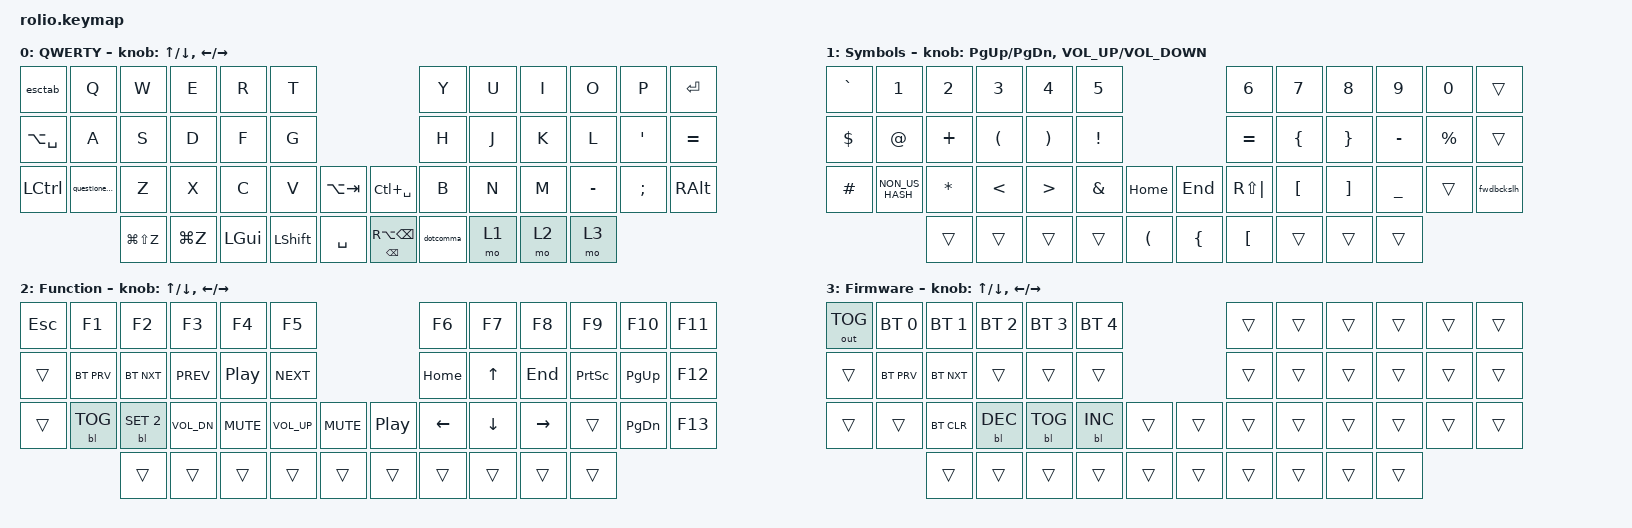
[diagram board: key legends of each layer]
/*
 * Copyright (c) 2020 The ZMK Contributors
 *
 * SPDX-License-Identifier: MIT
 */

#include <behaviors.dtsi>
#include <dt-bindings/zmk/backlight.h>
#include <dt-bindings/zmk/bt.h>
#include <dt-bindings/zmk/keys.h>
#include <dt-bindings/zmk/outputs.h>

#define MACOS     0
#define FKEYS     1
#define NUMBERS   2
#define WINDOWS   3
#define W_FKEYS   4
#define W_NUMBERS 5
#define MATHS     6
#define KB_CONFIG 7

/ {
    conditional_layers { compatible = "zmk,conditional-layers"; };

    behaviors {
        fwdbckslh: fwdbckslh {
            compatible = "zmk,behavior-tap-dance";
            display-name = "Shift/Caps Lock Tap Dance";
            #binding-cells = <0>;
            bindings = <&kp FSLH>, <&kp BSLH>;

            label = "FWD BCK Slash";
            tapping-term-ms = <500>;
        };

        holdtap: holdtap {
            compatible = "zmk,behavior-hold-tap";
            label = "Hold Tap";
            bindings = <&mo>, <&kp>;

            #binding-cells = <2>;
            tapping-term-ms = <500>;
        };

        dotcomma: dotcomma {
            compatible = "zmk,behavior-tap-dance";
            display-name = "Shift/Caps Lock Tap Dance";
            #binding-cells = <0>;
            bindings = <&kp COMMA>, <&kp PERIOD>;

            label = "Dot and Comma";
            tapping-term-ms = <500>;
        };

        questionexcl: questionexcl {
            compatible = "zmk,behavior-tap-dance";
            label = "Question and Excl";
            #binding-cells = <0>;
            bindings = <&kp QUESTION>, <&kp EXCLAMATION>;

            tapping-term-ms = <500>;
        };

        esctab: esctab {
            compatible = "zmk,behavior-tap-dance";
            label = "Esc Tab";
            #binding-cells = <0>;
            bindings = <&kp TAB>, <&kp ESCAPE>;

            tapping-term-ms = <500>;
        };

        holdtapkp: holdtapkp {
            compatible = "zmk,behavior-hold-tap";
            label = "HOLDTAPKP";
            bindings = <&kp>, <&kp>;

            #binding-cells = <2>;
            tapping-term-ms = <500>;
        };

        holdtapfast: holdtapfast {
            compatible = "zmk,behavior-hold-tap";
            label = "HOLDTAPFAST";
            bindings = <&mo>, <&kp>;

            #binding-cells = <2>;
            tapping-term-ms = <250>;
        };
    };

    macros {
        ifblock: ifblock {
            compatible = "zmk,behavior-macro";
            #binding-cells = <0>;
            bindings = <&kp I &kp F &kp LPAR &kp RPAR &kp LEFT_BRACE &kp RIGHT_BRACE>;
            label = "IFBLOCK";
        };

        ifelse: ifelse {
            compatible = "zmk,behavior-macro";
            #binding-cells = <0>;
            bindings = <&kp I &kp F &kp LPAR &kp RPAR &kp LEFT_BRACE &kp RBRC &kp E &kp L &kp S &kp E &kp LEFT_BRACE &kp RBRC>;
            label = "IFELSE";
        };
    };

    keymap {
        compatible = "zmk,keymap";

        default_layer {
            label = "QWERTY";
            sensor-bindings = <&inc_dec_kp UP DOWN &inc_dec_kp LEFT RIGHT>;
            bindings = <
&esctab           &kp Q          &kp W          &kp E      &kp R     &kp T                                                            &kp Y      &kp U  &kp I  &kp O      &kp P             &kp ENTER
&kp LA(SPACE)     &kp A          &kp S          &kp D      &kp F     &kp G                                                            &kp H      &kp J  &kp K  &kp L      &kp SINGLE_QUOTE  &kp EQUAL
&kp LEFT_CONTROL  &questionexcl  &kp Z          &kp X      &kp C     &kp V           &kp LA(TAB)  &kp LC(SPACE)                       &kp B      &kp N  &kp M  &kp MINUS  &kp SEMICOLON     &kp RIGHT_ALT
                                 &kp LG(LS(Z))  &kp LG(Z)  &kp LGUI  &kp LEFT_SHIFT  &kp SPACE    &holdtapkp BACKSPACE RA(BACKSPACE)  &dotcomma  &mo 1  &mo 2  &mo 3
            >;
        };

        layer_1 {
            label = "Symbols";
            sensor-bindings =
                <&inc_dec_kp PAGE_UP PAGE_DOWN>,
                <&inc_dec_kp C_VOLUME_UP C_VOLUME_DOWN>;

            bindings = <
&kp GRAVE   &kp N1           &kp N2        &kp N3                &kp N4                 &kp N5                                                 &kp N6            &kp N7            &kp N8             &kp N9          &kp N0       &trans
&kp DOLLAR  &kp AT_SIGN      &kp PLUS      &kp LEFT_PARENTHESIS  &kp RIGHT_PARENTHESIS  &kp EXCLAMATION                                        &kp EQUAL         &kp LEFT_BRACE    &kp RIGHT_BRACE    &kp MINUS       &kp PERCENT  &trans
&kp POUND   &kp NON_US_HASH  &kp ASTERISK  &kp LESS_THAN         &kp GREATER_THAN       &kp AMPERSAND    &kp HOME              &kp END         &kp RS(PIPE)      &kp LEFT_BRACKET  &kp RIGHT_BRACKET  &kp UNDERSCORE  &trans       &fwdbckslh
                             &trans        &trans                &trans                 &trans           &kp LEFT_PARENTHESIS  &kp LEFT_BRACE  &kp LEFT_BRACKET  &trans            &trans             &trans
            >;
        };

        layer_2 {
            label = "Function";
            sensor-bindings = <&inc_dec_kp UP DOWN>, <&inc_dec_kp LEFT RIGHT>;

            bindings = <
&kp ESCAPE  &kp F1      &kp F2        &kp F3        &kp F4      &kp F5                                      &kp F6    &kp F7    &kp F8     &kp F9     &kp F10    &kp F11
&trans      &bt BT_PRV  &bt BT_NXT    &kp C_PREV    &kp C_PP    &kp C_NEXT                                  &kp HOME  &kp UP    &kp END    &kp PSCRN  &kp PG_UP  &kp F12
&trans      &bl BL_TOG  &bl BL_SET 2  &kp C_VOL_DN  &kp C_MUTE  &kp C_VOL_UP  &kp C_MUTE  &kp C_PLAY_PAUSE  &kp LEFT  &kp DOWN  &kp RIGHT  &trans     &kp PG_DN  &kp F13
                        &trans        &trans        &trans      &trans        &trans      &trans            &trans    &trans    &trans     &trans
            >;
        };

        layer_3 {
            label = "Firmware";
            sensor-bindings = <&inc_dec_kp UP DOWN &inc_dec_kp LEFT RIGHT>;
            bindings = <
&out OUT_TOG  &bt BT_SEL 0  &bt BT_SEL 1  &bt BT_SEL 2  &bt BT_SEL 3  &bt BT_SEL 4                  &trans  &trans  &trans  &trans  &trans  &trans
&trans        &bt BT_PRV    &bt BT_NXT    &trans        &trans        &trans                        &trans  &trans  &trans  &trans  &trans  &trans
&trans        &trans        &bt BT_CLR    &bl BL_DEC    &bl BL_TOG    &bl BL_INC    &trans  &trans  &trans  &trans  &trans  &trans  &trans  &trans
                            &trans        &trans        &trans        &trans        &trans  &trans  &trans  &trans  &trans  &trans
            >;
        };
    };
};
